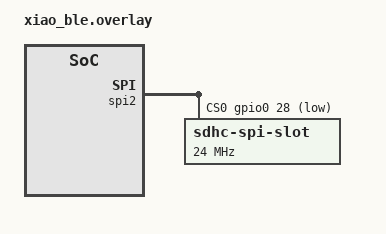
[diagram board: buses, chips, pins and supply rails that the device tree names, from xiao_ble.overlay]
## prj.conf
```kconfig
CONFIG_CLOCK_CONTROL_NRF_K32SRC_XTAL=y
CONFIG_CLOCK_CONTROL_NRF_K32SRC_50PPM=y
CONFIG_CLOCK_CONTROL_NRF_K32SRC_SYNTH=y
CONFIG_ADC=y
CONFIG_SPI=y
CONFIG_DISK_ACCESS=y
CONFIG_DISK_DRIVER_SDMMC=y
CONFIG_DISK_DRIVERS=y
CONFIG_LOG=y
CONFIG_FILE_SYSTEM=y
CONFIG_FAT_FILESYSTEM_ELM=y
CONFIG_PRINTK=y
CONFIG_NFCT_PINS_AS_GPIOS=y
CONFIG_ASSERT_VERBOSE=y
CONFIG_FS_FATFS_LFN=y
CONFIG_FS_FATFS_MOUNT_MKFS=y
CONFIG_FS_FATFS_LFN_MODE_HEAP=y
CONFIG_USE_SEGGER_RTT=y
CONFIG_LOG_BACKEND_RTT=y
CONFIG_MAIN_STACK_SIZE=4096
CONFIG_MINIMAL_LIBC_MALLOC_ARENA_SIZE=4096

#by me
CONFIG_DISK_DRIVER_FLASH=y
CONFIG_FS_SAMPLE_CREATE_SOME_ENTRIES=y
```

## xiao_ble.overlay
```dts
&spi2 {
	status = "okay";
	cs-gpios = <&gpio0 28 GPIO_ACTIVE_LOW>;
	sdhc-spi-slot@0 {
		compatible = "zephyr,sdhc-spi-slot";
		status = "okay";
		reg = <0x0>;
		spi-max-frequency = <24000000>;
		mmc{
			compatible = "zephyr,sdmmc-disk";
			status = "okay";
		};

	};
};
```

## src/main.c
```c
#include <zephyr/kernel.h>
#include <zephyr/device.h>
#include <zephyr/storage/disk_access.h>
#include <zephyr/logging/log.h>
#include <zephyr/fs/fs.h>
#include <string.h>
#include <stdio.h>

#if defined(CONFIG_FAT_FILESYSTEM_ELM)

#include <ff.h>

/*
 *  Note the fatfs library is able to mount only strings inside _VOLUME_STRS
 *  in ffconf.h
 */
#define DISK_DRIVE_NAME "SD"
#define DISK_MOUNT_PT "/"DISK_DRIVE_NAME":"

static FATFS fat_fs;
/* mounting info */
static struct fs_mount_t mp = {
    .type = FS_FATFS,
    .fs_data = &fat_fs,
};

#elif defined(CONFIG_FILE_SYSTEM_EXT2)

#include <zephyr/fs/ext2.h>

#define DISK_DRIVE_NAME "SDMMC"
#define DISK_MOUNT_PT "/ext"

static struct fs_mount_t mp = {
    .type = FS_EXT2,
    .flags = FS_MOUNT_FLAG_NO_FORMAT,
    .storage_dev = (void *)DISK_DRIVE_NAME,
    .mnt_point = "/ext",
};

#endif

LOG_MODULE_REGISTER(main);

#define MAX_PATH 128
#define SOME_FILE_NAME "some.dat"
#define SOME_DIR_NAME "some"
#define SOME_REQUIRED_LEN MAX(sizeof(SOME_FILE_NAME), sizeof(SOME_DIR_NAME))

static int lsdir(const char *path);
#ifdef CONFIG_FS_SAMPLE_CREATE_SOME_ENTRIES
static bool create_some_entries(const char *base_path)
{
    char path[MAX_PATH];
    struct fs_file_t file;
    int base = strlen(base_path);

    fs_file_t_init(&file);

    if (base >= (sizeof(path) - SOME_REQUIRED_LEN))
    {
        LOG_ERR("Not enough concatenation buffer to create file paths");
        return false;
    }

    LOG_INF("Creating some dir entries in %s", base_path);
    strncpy(path, base_path, sizeof(path));

    path[base++] = '/';
    path[base] = 0;
    strcat(&path[base], "sample.txt"); // Create a text file named "sample.txt"

    if (fs_open(&file, path, FS_O_CREATE | FS_O_WRITE) != 0)
    {
        LOG_ERR("Failed to create file %s", path);
        return false;
    }

    const char *text = "Hello, SD Card!\n"; // Text to write to the file

    if (fs_write(&file, text, strlen(text)) != strlen(text))
    {
        LOG_ERR("Failed to write to file %s", path);
        fs_close(&file);
        return false;
    }

    fs_close(&file);

    return true;
}
#endif

static const char *disk_mount_pt = DISK_MOUNT_PT;

int main(void)
{
    /* raw disk i/o */
    do {
        static const char *disk_pdrv = DISK_DRIVE_NAME;
        uint64_t memory_size_mb;
        uint32_t block_count;
        uint32_t block_size;

        if (disk_access_init(disk_pdrv) != 0) {
            LOG_ERR("Storage init ERROR!");
            break;
        }

        if (disk_access_ioctl(disk_pdrv,
                DISK_IOCTL_GET_SECTOR_COUNT, &block_count)) {
            LOG_ERR("Unable to get sector count");
            break;
        }
        LOG_INF("Block count %u", block_count);

        if (disk_access_ioctl(disk_pdrv,
                DISK_IOCTL_GET_SECTOR_SIZE, &block_size)) {
            LOG_ERR("Unable to get sector size");
            break;
        }
        printk("Sector size %u\n", block_size);

        memory_size_mb = (uint64_t)block_count * block_size;
        printk("Memory Size(MB) %u\n", (uint32_t)(memory_size_mb >> 20));
    } while (0);

    mp.mnt_point = disk_mount_pt;

    int res = fs_mount(&mp);

#if defined(CONFIG_FAT_FILESYSTEM_ELM)
    if (res == FR_OK) {
#else
    if (res == 0) {
#endif
        printk("Disk mounted.\n");
#ifdef CONFIG_FS_SAMPLE_CREATE_SOME_ENTRIES
        if (create_some_entries(disk_mount_pt)) {
            lsdir(disk_mount_pt);
        }
#endif
    } else {
        printk("Error mounting disk.\n");
    }
    
    fs_unmount(&mp);

    while (1) {
        k_sleep(K_MSEC(1000));
    }
    return 0;
}

/* List dir entry by path
 *
 * @param path Absolute path to list
 *
 * @return Negative errno code on error, number of listed entries on
 *         success.
 */
static int lsdir(const char *path)
{
    volatile uint8_t res;
    struct fs_dir_t dirp;
    static struct fs_dirent entry;

    fs_dir_t_init(&dirp);

    /* Verify fs_opendir() */
    res = fs_opendir(&dirp, path);
    if (res) {
        printk("Error opening dir %s [%d]\n", path, res);
        return res;
    }

    printk("\nListing dir %s ...\n", path);
    for (;;) {
        /* Verify fs_readdir() */
        res = fs_readdir(&dirp, &entry);

        /* entry.name[0] == 0 means end-of-dir */
        if (res || entry.name[0] == 0) {
            break;
        }

        if (entry.type == FS_DIR_ENTRY_DIR) {
            printk("[DIR ] %s\n", entry.name);
        } else {
            printk("[FILE] %s (size = %zu)\n",
                entry.name, entry.size);
        }
    }

    /* Verify fs_closedir() */
    fs_closedir(&dirp);
    return res;
}
```
